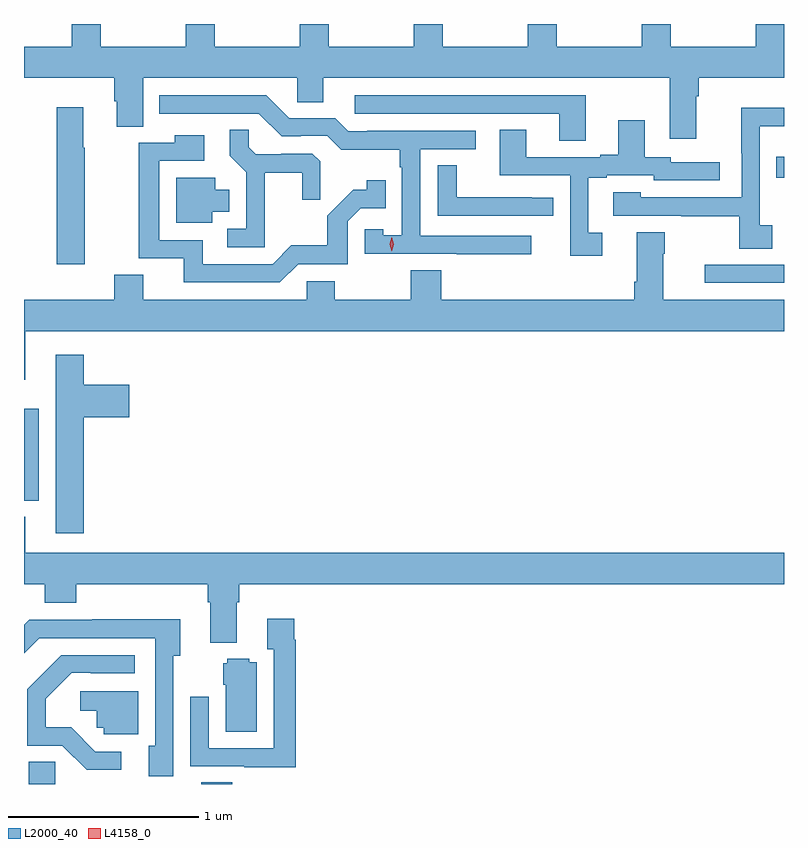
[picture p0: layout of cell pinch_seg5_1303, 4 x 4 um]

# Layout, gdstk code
import gdstk
lib = gdstk.Library(unit=1e-6, precision=1e-09)
def R(c, l, rs):  # rectangles x0, y0, x1, y1
    for r in rs: c.add(gdstk.rectangle(r[:2], r[2:], *l))
def P(c, l, *ps):  # polygons
    for p in ps: c.add(gdstk.Polygon(p, *l))
L2000_40 = (2000, 40)
L4158_0 = (4158, 0)

pinch_seg5_1303 = lib.new_cell('pinch_seg5_1303')
R(pinch_seg5_1303, L2000_40, [(310.619,902.328,310.757,902.444), (311.525,902.328,311.69,902.336), (310.593,903.819,310.671,904.303), (314.175,904.965,314.593,905.061), (314.551,905.52,314.593,905.629)])
P(pinch_seg5_1303, L2000_40, [(311.443,906.208),(310.998,906.208),(310.998,906.328),(310.843,906.328),(310.843,906.208),(310.593,906.208),(310.593,906.044),(311.069,906.044),(311.069,905.922),(311.081,905.922),(311.081,905.788),(311.221,905.788),(311.221,906.044),(312.03,906.044),(312.03,905.917),(312.169,905.917),(312.169,906.044),(313.991,906.044),(313.991,905.724),(314.131,905.724),(314.131,905.948),(314.144,905.948),(314.144,906.044),(314.593,906.044),(314.593,906.328),(314.443,906.328),(314.443,906.208),(313.998,906.208),(313.998,906.328),(313.843,906.328),(313.843,906.208),(313.398,906.208),(313.398,906.328),(313.243,906.328),(313.243,906.208),(312.798,906.208),(312.798,906.328),(312.643,906.328),(312.643,906.208),(312.198,906.208),(312.198,906.328),(312.043,906.328),(312.043,906.208),(311.598,906.208),(311.598,906.328),(311.443,906.328)],
  [(313.549,905.952),(312.333,905.952),(312.333,905.856),(313.409,905.856),(313.409,905.713),(313.549,905.713)],
  [(313.264,905.214),(312.678,905.214),(312.678,905.67),(312.97,905.67),(312.97,905.766),(312.4,905.766),(312.4,905.763),(312.3,905.763),(312.231,905.832),(311.988,905.832),(311.868,905.952),(311.306,905.952),(311.306,905.856),(311.829,905.856),(311.949,905.736),(312.05,905.736),(312.05,905.739),(312.189,905.739),(312.262,905.666),(312.57,905.666),(312.57,905.573),(312.582,905.573),(312.582,905.215),(312.483,905.215),(312.483,905.247),(312.387,905.247),(312.387,905.118),(312.871,905.118),(312.871,905.116),(313.264,905.116)],
  [(310.914,905.677),(310.906,905.677),(310.906,905.89),(310.765,905.89),(310.765,905.064),(310.914,905.064)],
  [(314.53,905.268),(314.466,905.268),(314.466,905.789),(314.593,905.789),(314.593,905.887),(314.368,905.887),(314.368,905.648),(314.37,905.648),(314.37,905.415),(313.839,905.415),(313.839,905.443),(313.695,905.443),(313.695,905.319),(314.053,905.319),(314.053,905.317),(314.358,905.317),(314.358,905.146),(314.53,905.146)],
  [(313.636,905.229),(313.564,905.229),(313.564,905.52),(313.66,905.52),(313.66,905.532),(313.908,905.532),(313.908,905.505),(314.254,905.505),(314.254,905.601),(313.998,905.601),(313.998,905.628),(313.861,905.628),(313.861,905.821),(313.721,905.821),(313.721,905.641),(313.625,905.641),(313.625,905.628),(313.237,905.628),(313.237,905.771),(313.097,905.771),(313.097,905.532),(313.467,905.532),(313.467,905.109),(313.636,905.109)],
  [(311.861,905.546),(312.058,905.546),(312.058,905.403),(312.152,905.403),(312.152,905.605),(312.111,905.646),(311.946,905.646),(311.946,905.643),(311.812,905.643),(311.775,905.68),(311.775,905.771),(311.677,905.771),(311.677,905.635),(311.763,905.549),(311.763,905.25),(311.664,905.25),(311.664,905.154),(311.861,905.154)],
  [(312.036,905.064),(312.297,905.064),(312.297,905.289),(312.366,905.358),(312.497,905.358),(312.497,905.506),(312.396,905.506),(312.396,905.456),(312.326,905.456),(312.189,905.318),(312.189,905.163),(312,905.163),(311.901,905.064),(311.533,905.064),(311.533,905.19),(311.304,905.19),(311.304,905.607),(311.542,905.607),(311.542,905.743),(311.386,905.743),(311.386,905.703),(311.196,905.703),(311.196,905.094),(311.435,905.094),(311.435,904.968),(311.94,904.968)],
  [(313.378,905.414),(313.265,905.414),(313.265,905.415),(312.87,905.415),(312.87,905.585),(312.771,905.585),(312.771,905.319),(313.378,905.319)],
  [(311.584,905.339),(311.674,905.339),(311.674,905.455),(311.599,905.455),(311.599,905.518),(311.393,905.518),(311.393,905.282),(311.584,905.282)],
  [(314.593,904.876),(313.957,904.876),(313.957,905.12),(313.965,905.12),(313.965,905.233),(313.817,905.233),(313.817,904.972),(313.805,904.972),(313.805,904.876),(312.788,904.876),(312.788,905.033),(312.628,905.033),(312.628,904.876),(312.228,904.876),(312.228,904.974),(312.081,904.974),(312.081,904.876),(311.221,904.876),(311.221,905.009),(311.069,905.009),(311.069,904.876),(310.593,904.876),(310.593,904.455),(310.6,904.455),(310.6,904.712),(314.593,904.712)],
  [(310.907,904.259),(311.146,904.259),(311.146,904.429),(310.907,904.429),(310.907,904.588),(310.76,904.588),(310.76,903.648),(310.907,903.648)],
  [(310.6,903.734),(310.593,903.734),(310.593,903.38),(310.703,903.38),(310.703,903.281),(310.868,903.281),(310.868,903.38),(311.561,903.38),(311.561,903.284),(311.573,903.284),(311.573,903.071),(311.713,903.071),(311.713,903.284),(311.726,903.284),(311.726,903.38),(314.593,903.38),(314.593,903.544),(310.6,903.544)],
  [(312.023,903.086),(312.016,903.086),(312.016,903.199),(311.873,903.199),(311.873,903.038),(311.907,903.038),(311.907,902.517),(311.565,902.517),(311.565,902.788),(311.469,902.788),(311.469,902.421),(311.753,902.421),(311.753,902.417),(312.023,902.417)],
  [(311.379,903.002),(311.416,903.002),(311.416,903.194),(310.951,903.194),(310.951,903.192),(310.62,903.192),(310.593,903.165),(310.593,903.015),(310.674,903.096),(311.283,903.096),(311.283,902.53),(311.249,902.53),(311.249,902.37),(311.379,902.37)],
  [(311.104,902.499),(310.968,902.499),(310.841,902.626),(310.708,902.626),(310.708,902.776),(310.845,902.913),(310.945,902.913),(310.945,902.91),(311.176,902.91),(311.176,903.006),(310.79,903.006),(310.611,902.827),(310.611,902.529),(310.794,902.529),(310.922,902.402),(311.104,902.402)],
  [(311.818,902.968),(311.778,902.968),(311.778,902.986),(311.664,902.986),(311.664,902.964),(311.642,902.964),(311.642,902.85),(311.654,902.85),(311.654,902.602),(311.818,902.602)],
  [(311.194,902.817),(310.89,902.817),(310.89,902.714),(310.977,902.714),(310.977,902.625),(311.013,902.625),(311.013,902.589),(311.194,902.589)])
P(pinch_seg5_1303, L4158_0, [(312.529,905.133),(312.529,905.133),(312.519,905.169),(312.529,905.205),(312.529,905.205),(312.529,905.205),(312.539,905.169),(312.529,905.133)])

lib.write_gds('pinch_seg5_1303.gds')
